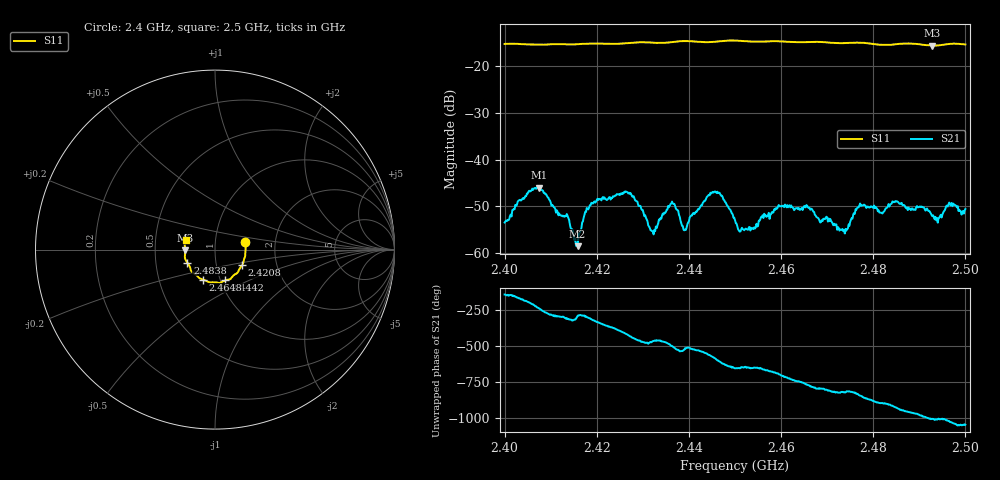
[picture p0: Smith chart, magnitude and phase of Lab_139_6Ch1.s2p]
# Hz S RI R 50
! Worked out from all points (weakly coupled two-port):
!   601 points, 2.4 GHz to 2.5 GHz, reference 50 ohm
!   highest |S21| = -46.03 dB at 2.4075 GHz (marker M1); lowest = -58.5 dB at 2.4158 GHz (marker M2)
!   lowest |S11| = -15.6 dB at 2.4928 GHz (marker M3), VSWR 1.40, Z = 35.8 - j0.351 ohm
!   |S11| at or under -10 dB: start of sweep to end of sweep
!   S12 and S22 are empty: the file has one direction only
!   S11 on the Smith chart (normalised r, x): 2.4 GHz: 1.40, +0.12; 2.4208 GHz: 1.33, -0.24; 2.4442 GHz: 1.05, -0.37; 2.4648 GHz: 0.83, -0.29; 2.4838 GHz: 0.73, -0.11; 2.5 GHz: 0.72, +0.08
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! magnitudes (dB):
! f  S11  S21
! 2.4 GHz  -15.3  -53.5
! 2.4075 GHz  -15.4  -46.0
! 2.4158 GHz  -15.3  -58.5
! 2.4167 GHz  -15.2  -54.7
! 2.4208 GHz  -15.2  -48.5
! 2.4268 GHz  -15.1  -47.3
! 2.4318 GHz  -15.0  -55.2
! 2.4333 GHz  -15.0  -53.6
! 2.4365 GHz  -14.8  -49.4
! 2.4392 GHz  -14.6  -55.0
! 2.4442 GHz  -14.9  -47.7
! 2.4467 GHz  -14.7  -47.2
! 2.45 GHz  -14.5  -53.0
! 2.4538 GHz  -14.8  -54.8
! 2.4648 GHz  -14.9  -50.3
! 2.4667 GHz  -14.8  -50.6
! 2.4737 GHz  -15.1  -55.1
! 2.477 GHz  -15.0  -49.8
! 2.4833 GHz  -15.5  -49.5
! 2.4838 GHz  -15.4  -49.5
! 2.4928 GHz  -15.6  -52.1
! 2.5 GHz  -15.4  -50.6
